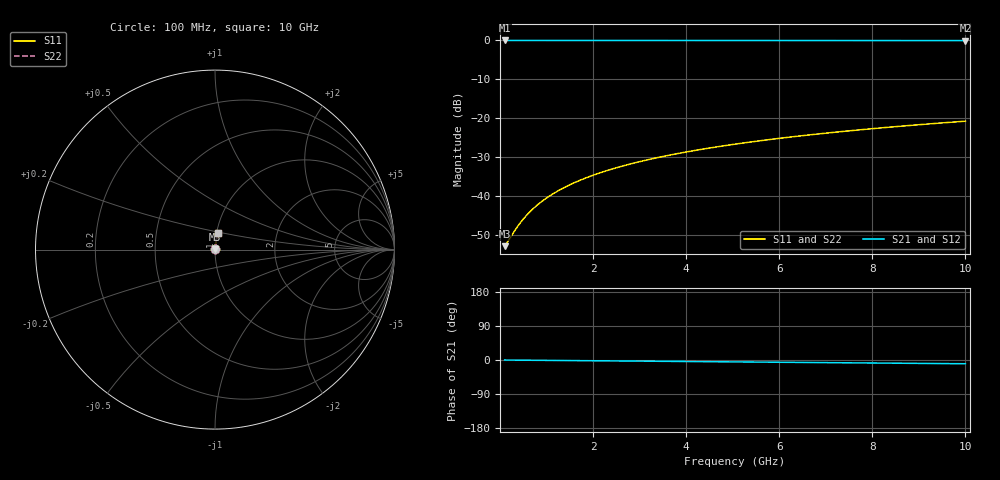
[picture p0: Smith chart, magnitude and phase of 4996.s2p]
# Hz S RI R 50.00
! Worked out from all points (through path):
!   100 points, 100 MHz to 10 GHz, reference 50 ohm
!   highest |S21| = -0.02 dB at 100 MHz (marker M1); lowest = -0.1 dB at 10 GHz (marker M2)
!   group delay of S21, straight-line fit = 2.75 ps
!   lowest |S11| = -52.9 dB at 100 MHz (marker M3), VSWR 1.00, Z = 50.2 + j0.092 ohm
!   |S11| at or under -10 dB: start of sweep to end of sweep
!   |S22| runs from -52.9 to -20.8 dB; largest |S21 - S12| = 0
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1e8  0.00208 0.000916  0.9979 -0.00172  0.9979 -0.00172  0.00208 0.000916
2e8  0.0021 0.00183  0.9979 -0.00345  0.9979 -0.00345  0.0021 0.00183
3e8  0.00212 0.00275  0.9979 -0.00517  0.9979 -0.00517  0.00212 0.00275
4e8  0.00214 0.00366  0.9979 -0.00689  0.9979 -0.00689  0.00214 0.00366
5e8  0.00216 0.00458  0.9978 -0.00862  0.9978 -0.00862  0.00216 0.00458
6e8  0.00218 0.0055  0.9978 -0.0103  0.9978 -0.0103  0.00218 0.0055
7e8  0.00221 0.00641  0.9978 -0.0121  0.9978 -0.0121  0.00221 0.00641
8e8  0.00224 0.00733  0.9977 -0.0138  0.9977 -0.0138  0.00224 0.00733
1e9  0.0023 0.00916  0.9977 -0.0172  0.9977 -0.0172  0.0023 0.00916
1.2e9  0.00238 0.011  0.9976 -0.0207  0.9976 -0.0207  0.00238 0.011
1.5e9  0.00252 0.0137  0.9974 -0.0259  0.9974 -0.0259  0.00252 0.0137
1.8e9  0.00268 0.0165  0.9972 -0.031  0.9972 -0.031  0.00268 0.0165
2.1e9  0.00288 0.0192  0.997 -0.0362  0.997 -0.0362  0.00288 0.0192
2.5e9  0.00318 0.0229  0.9966 -0.0431  0.9966 -0.0431  0.00318 0.0229
2.9e9  0.00353 0.0265  0.9962 -0.05  0.9962 -0.05  0.00353 0.0265
3.4e9  0.00403 0.0311  0.9956 -0.0586  0.9956 -0.0586  0.00403 0.0311
4.2e9  0.00501 0.0383  0.9944 -0.0723  0.9944 -0.0723  0.00501 0.0383
5.1e9  0.00635 0.0465  0.9928 -0.0877  0.9928 -0.0877  0.00635 0.0465
5.9e9  0.00775 0.0537  0.9911 -0.1014  0.9911 -0.1014  0.00775 0.0537
6.7e9  0.00935 0.0608  0.9891 -0.1151  0.9891 -0.1151  0.00935 0.0608
8.4e9  0.0134 0.0759  0.9842 -0.144  0.9842 -0.144  0.0134 0.0759
1e10  0.018 0.0899  0.9786 -0.171  0.9786 -0.171  0.018 0.0899
